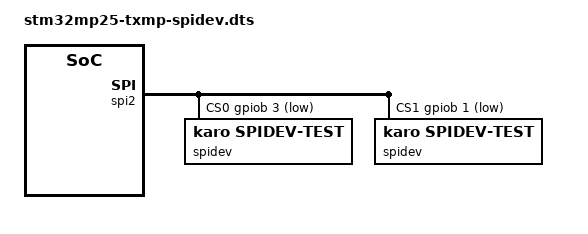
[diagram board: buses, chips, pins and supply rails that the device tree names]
// SPDX-License-Identifier: (GPL-2.0 OR BSD-3-Clause)
/*
 * Copyright (C) 2024 Lothar Waßmann <LW@KARO-electronics.de>
 */

/dts-v1/;

/plugin/;

#include <dt-bindings/gpio/gpio.h>

&{/chosen} {
	overlays {
		txmp-spidev;
	};
};

&spi2 {
	cs-gpios = <
		    &gpiob 3 GPIO_ACTIVE_LOW
		    &gpiob 1 GPIO_ACTIVE_LOW
	>;
	status = "okay";

	spidev@0 {
		compatible = "karo,spidev-test";
		reg = <0>;
	};

	spidev@1 {
		compatible = "karo,spidev-test";
		reg = <1>;
	};
};
